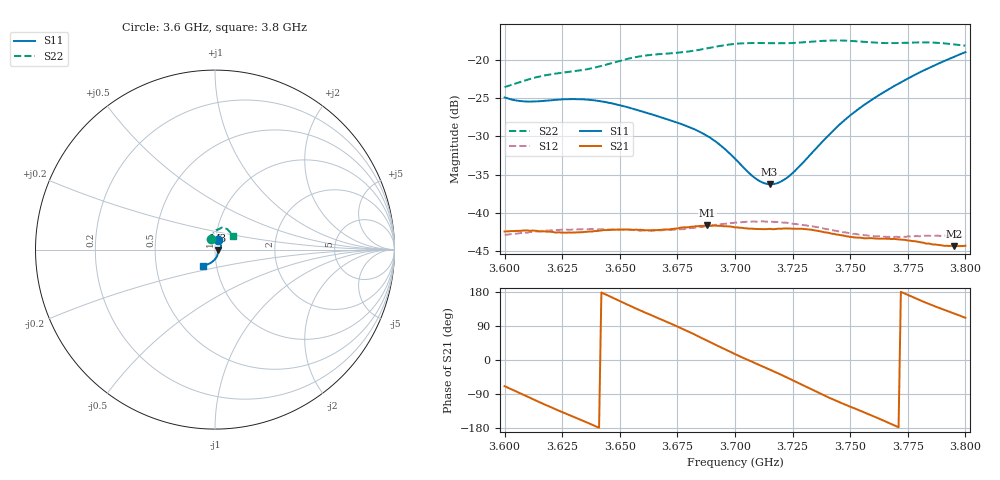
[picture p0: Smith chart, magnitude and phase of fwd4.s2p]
#  HZ  S  DB  R  50.00
! Rohde & Schwarz ZVB8 2Ports - Version 3.70 - 1145.1010k08 SN: 100925
! Date: 2017-03-03 16:11:33
! Measurements: S11 S21 S12 S22
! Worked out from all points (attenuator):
!   201 points, 3.6 GHz to 3.8 GHz, reference 50 ohm
!   highest |S21| = -41.61 dB at 3.688 GHz (marker M1); lowest = -44.3 dB at 3.795 GHz (marker M2)
!   lowest |S11| = -36.2 dB at 3.715 GHz (marker M3), VSWR 1.03, Z = 51.5 - j0.382 ohm
!   |S11| at or under -10 dB: start of sweep to end of sweep
!   |S22| runs from -23.6 to -17.5 dB; largest |S21 - S12| = 0.0013
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3.6e9  -24.92 72.8  -42.40 -69.1  -42.82 -68.0  -23.57 112.2
3.611e9  -25.46 79.5  -42.32 -99.6  -42.47 -97.0  -22.51 107.9
3.619e9  -25.32 80.7  -42.42 -121.6  -42.26 -119.1  -21.95 106.0
3.634e9  -25.16 71.8  -42.48 -160.4  -42.10 -161.3  -21.34 99.5
3.647e9  -25.72 57.8  -42.15 164.2  -42.14 162.0  -20.39 92.5
3.657e9  -26.50 46.7  -42.15 135.8  -42.21 134.8  -19.65 89.6
3.667e9  -27.42 37.3  -42.19 109.7  -42.26 108.8  -19.28 87.2
3.68e9  -28.76 25.4  -41.84 74.4  -41.99 74.8  -18.92 81.2
3.688e9  -29.95 16.4  -41.61 50.7  -41.67 53.0  -18.51 77.4
3.694e9  -31.22 8.8  -41.66 32.8  -41.44 35.8  -18.18 75.5
3.7e9  -32.90 1.3  -41.86 15.4  -41.22 18.4  -17.93 74.2
3.709e9  -35.49 -7.8  -42.07 -9.1  -41.11 -8.7  -17.82 72.4
3.715e9  -36.24 -13.9  -42.05 -25.0  -41.15 -27.1  -17.84 70.5
3.719e9  -36.02 -19.7  -42.03 -36.0  -41.19 -38.9  -17.86 68.8
3.723e9  -35.30 -27.3  -42.03 -47.6  -41.29 -51.3  -17.84 66.9
3.734e9  -31.95 -51.5  -42.22 -80.0  -41.74 -84.0  -17.63 62.1
3.743e9  -29.14 -68.7  -42.71 -105.1  -42.26 -108.6  -17.49 59.5
3.75e9  -27.26 -79.3  -43.10 -123.4  -42.61 -127.1  -17.54 57.6
3.767e9  -23.80 -99.1  -43.34 -166.7  -43.08 -169.1  -17.84 49.9
3.781e9  -21.53 -111.9  -43.84 156.0  -42.99 154.9  -17.74 43.7
3.795e9  -19.63 -123.0  -44.31 123.2  -43.01 116.9  -18.00 39.1
3.8e9  -19.02 -126.7  -44.26 111.4  -43.06 103.2  -18.17 36.7
